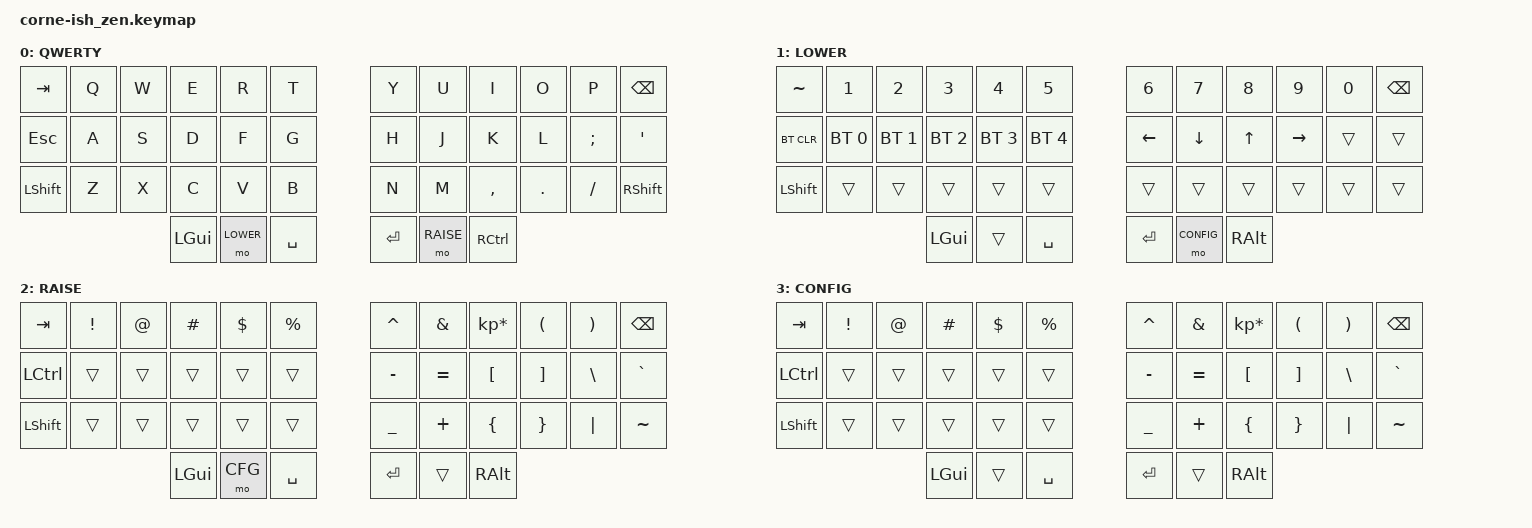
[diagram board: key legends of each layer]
/*
*
* Copyright (c) 2021 Darryl deHaan
* SPDX-License-Identifier: MIT
*
*/

#include <behaviors.dtsi>
#include <dt-bindings/zmk/keys.h>
#include <dt-bindings/zmk/bt.h>

#define QWERTY 0
#define LOWER  1
#define RAISE  2
#define CONFIG 3

/ {
        keymap {
                compatible = "zmk,keymap";

                default_layer {
                        label = "QWERTY";
// -----------------------------------------------------------------------------------------
// |  TAB |  Q  |  W  |  E  |  R  |  T  |   |  Y  |  U   |  I  |  O  |  P  | BKSP |
// |  ESC |  A  |  S  |  D  |  F  |  G  |   |  H  |  J   |  K  |  L  |  ;  |  '   |
// | SHFT |  Z  |  X  |  C  |  V  |  B  |   |  N  |  M   |  ,  |  .  |  /  | SHFT |
//                    | GUI | LWR | SPC |   | ENT | RSE  | ALT |
                        bindings = <
   &kp TAB   &kp Q &kp W &kp E &kp R &kp T   &kp Y &kp U  &kp I     &kp O   &kp P    &kp BSPC
   &kp ESC   &kp A &kp S &kp D &kp F &kp G   &kp H &kp J  &kp K     &kp L   &kp SEMI &kp SQT
   &kp LSHFT &kp Z &kp X &kp C &kp V &kp B   &kp N &kp M  &kp COMMA &kp DOT &kp FSLH &kp RSHFT
              &kp LGUI &mo LOWER &kp SPACE   &kp RET &mo RAISE &kp RCTRL
                        >;
                };
                lower_layer {
                        label = "LOWER";
// -----------------------------------------------------------------------------------------
// |  ~   |  1  |  2  |  3  |  4  |  5  |   |  6  |  7  |  8  |  9  |  0  | DEL  |
// | BTCLR| BT1 | BT2 | BT3 | BT4 | BT5 |   | LFT | DWN |  UP | RGT |     |      |
// | SHFT |     |     |     |     |     |   |     |     |     |     |     |      |
//                    | GUI |     | SPC |   | ENT | CFG | ALT |
                        bindings = <
   &kp TILDE  &kp N1       &kp N2       &kp N3       &kp N4       &kp N5         &kp N6   &kp N7   &kp N8 &kp N9    &kp N0 &kp BSPC
   &bt BT_CLR &bt BT_SEL 0 &bt BT_SEL 1 &bt BT_SEL 2 &bt BT_SEL 3 &bt BT_SEL 4   &kp LEFT &kp DOWN &kp UP &kp RIGHT &trans &trans
   &kp LSHFT  &trans       &trans       &trans       &trans       &trans         &trans   &trans   &trans &trans    &trans &trans
              &kp LGUI     &trans       &kp SPACE      &kp RET  &mo CONFIG   &kp RALT
                        >;
                };

                raise_layer {
                        label = "RAISE";
// -----------------------------------------------------------------------------------------
// |  TAB |  !  |  @  |  #  |  $  |  %  |   |  ^  |  &  |  *  |  (  |  )  | BKSP |
// | CTRL |     |     |     |     |     |   |  -  |  =  |  [  |  ]  |  \  |  `   |
// | SHFT |     |     |     |     |     |   |  _  |  +  |  {  |  }  | "|" |  ~   |
//                    | GUI | CFG | SPC |   | ENT |     | ALT |
                        bindings = <
   &kp  TAB  &kp EXCL &kp AT &kp HASH &kp DLLR &kp PRCNT   &kp CARET &kp AMPS  &kp KP_MULTIPLY &kp LPAR &kp RPAR &kp BSPC
   &kp LCTRL &trans   &trans &trans   &trans   &trans      &kp MINUS &kp EQUAL &kp LBKT        &kp RBKT &kp BSLH &kp GRAVE
   &kp LSHFT &trans   &trans &trans   &trans   &trans      &kp UNDER &kp PLUS  &kp LBRC        &kp RBRC &kp PIPE &kp TILDE
                    	     &kp LGUI &mo CFG   &kp SPACE   &kp RET   &trans    &kp RALT
                        >;
                };

                config_layer {
                        label = "CONFIG";
// -----------------------------------------------------------------------------------------
// |  TAB |  !  |  @  |  #  |  $  |  %  |   |  ^  |  &  |  *  |  (  |  )  | BKSP |
// | CTRL |     |     |     |     |     |   |  -  |  =  |  [  |  ]  |  \  |  `   |
// | SHFT |     |     |     |     |     |   |  _  |  +  |  {  |  }  | "|" |  ~   |
//                    | GUI |     | SPC |   | ENT |     | ALT |
                        bindings = <
   &kp  TAB  &kp EXCL &kp AT &kp HASH &kp DLLR &kp PRCNT   &kp CARET &kp AMPS  &kp KP_MULTIPLY &kp LPAR &kp RPAR &kp BSPC
   &kp LCTRL &trans   &trans &trans   &trans   &trans      &kp MINUS &kp EQUAL &kp LBKT        &kp RBKT &kp BSLH &kp GRAVE
   &kp LSHFT &trans   &trans &trans   &trans   &trans      &kp UNDER &kp PLUS  &kp LBRC        &kp RBRC &kp PIPE &kp TILDE
                    	     &kp LGUI &trans   &kp SPACE   &kp RET   &trans    &kp RALT
                        >;
                };

        };
};
